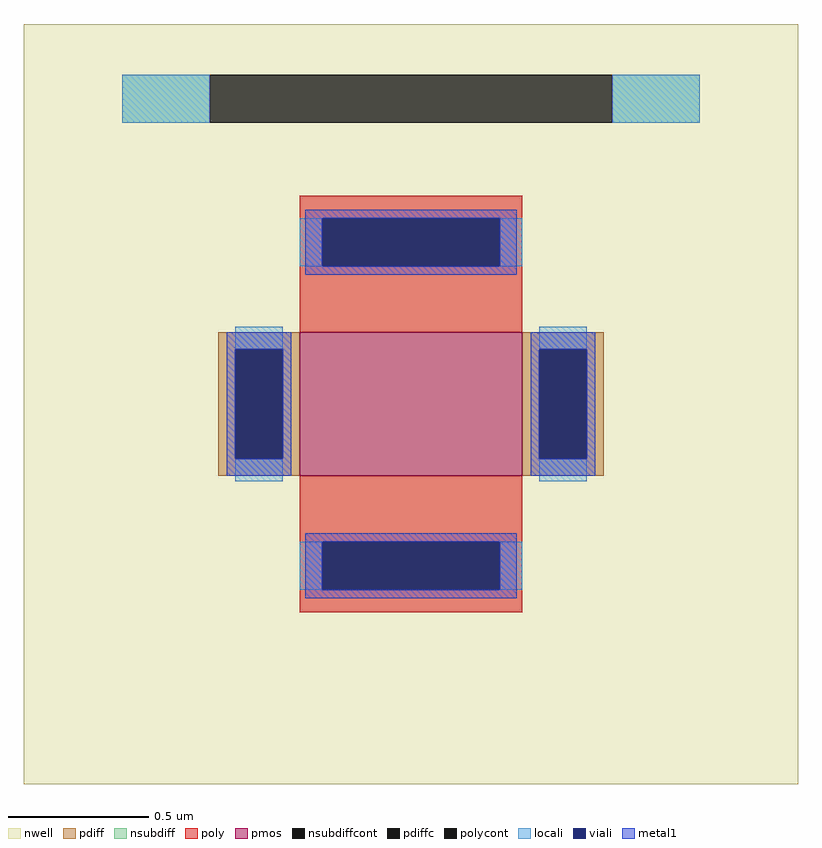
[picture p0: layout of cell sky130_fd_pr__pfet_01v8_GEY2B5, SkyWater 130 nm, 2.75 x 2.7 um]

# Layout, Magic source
magic
tech sky130A
magscale 1 2
<< nwell >>
rect -275 -270 275 270
<< pmos >>
rect -79 -51 79 51
<< pdiff >>
rect -137 39 -79 51
rect -137 -39 -125 39
rect -91 -39 -79 39
rect -137 -51 -79 -39
rect 79 39 137 51
rect 79 -39 91 39
rect 125 -39 137 39
rect 79 -51 137 -39
<< pdiffc >>
rect -125 -39 -91 39
rect 91 -39 125 39
<< nsubdiff >>
rect -205 200 -143 234
rect 143 200 205 234
<< nsubdiffcont >>
rect -143 200 143 234
<< poly >>
rect -79 132 79 148
rect -79 98 -63 132
rect 63 98 79 132
rect -79 51 79 98
rect -79 -98 79 -51
rect -79 -132 -63 -98
rect 63 -132 79 -98
rect -79 -148 79 -132
<< polycont >>
rect -63 98 63 132
rect -63 -132 63 -98
<< locali >>
rect -205 200 -143 234
rect 143 200 205 234
rect -79 98 -63 132
rect 63 98 79 132
rect -125 39 -91 55
rect -125 -55 -91 -39
rect 91 39 125 55
rect 91 -55 125 -39
rect -79 -132 -63 -98
rect 63 -132 79 -98
<< viali >>
rect -63 98 63 132
rect -125 -39 -91 39
rect 91 -39 125 39
rect -63 -132 63 -98
<< metal1 >>
rect -75 132 75 138
rect -75 98 -63 132
rect 63 98 75 132
rect -75 92 75 98
rect -131 39 -85 51
rect -131 -39 -125 39
rect -91 -39 -85 39
rect -131 -51 -85 -39
rect 85 39 131 51
rect 85 -39 91 39
rect 125 -39 131 39
rect 85 -51 131 -39
rect -75 -98 75 -92
rect -75 -132 -63 -98
rect 63 -132 75 -98
rect -75 -138 75 -132
<< properties >>
string FIXED_BBOX -222 -217 222 217
string gencell sky130_fd_pr__pfet_01v8
string library sky130
string parameters w 0.51 l 0.79 m 1 nf 1 diffcov 100 polycov 100 guard 1 glc 1 grc 1 gtc 1 gbc 1 tbcov 100 rlcov 100 topc 1 botc 1 poverlap 0 doverlap 1 lmin 0.15 wmin 0.42 compatible {sky130_fd_pr__pfet_01v8  sky130_fd_pr__pfet_01v8_lvt sky130_fd_pr__pfet_01v8_hvt  sky130_fd_pr__pfet_g5v0d10v5} full_metal 1 viasrc 100 viadrn 100 viagate 100 viagb 0 viagr 0 viagl 0 viagt 0
<< end >>
